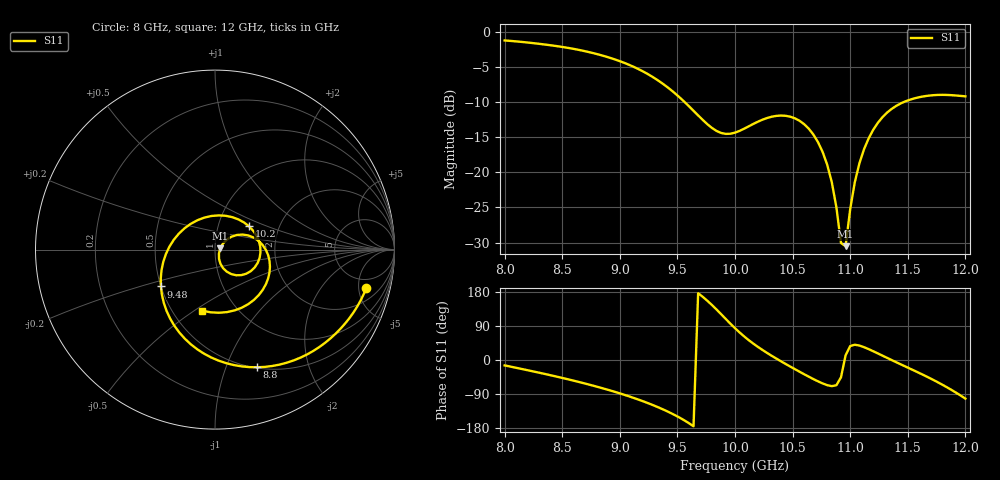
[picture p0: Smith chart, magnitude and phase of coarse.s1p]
! yapnr rf: antenna-x10, binary design on the optimization grid
! spec sha256 6d76e102596c44698a476305de89e6432791258e8245bcfd53b0e58c02666d0d
! renormalized to 50 ohm, e^(+jwt) convention
# GHz S RI R 50
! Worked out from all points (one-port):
!   101 points, 8 GHz to 12 GHz, reference 50 ohm
!   lowest |S11| = -30.5 dB at 10.96 GHz (marker M1), VSWR 1.06, Z = 53 + j0.675 ohm
!   |S11| at or under -10 dB: 9.564 GHz to 11.46 GHz (1.9 GHz wide, 18.1 % of centre)
!   S11 on the Smith chart (normalised r, x): 8 GHz: 3.46, -6.08; 8.8 GHz: 0.51, -1.29; 9.48 GHz: 0.50, -0.24; 10.2 GHz: 1.41, +0.39; 12 GHz: 0.70, -0.54
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8  0.843 -0.2138
8.24  0.7249 -0.412
8.52  0.513 -0.5841
8.8  0.2341 -0.6557
9  0.0211 -0.619
9.28  -0.2264 -0.4241
9.48  -0.3014 -0.2055
9.52  -0.3021 -0.159
9.8  -0.1697 0.1187
10  0.0203 0.1907
10.2  0.1897 0.1296
10.36  0.252 0.0157
10.52  0.2213 -0.0993
10.64  0.1474 -0.1421
10.76  0.0663 -0.1234
10.84  0.0306 -0.0796
10.88  0.0224 -0.0518
10.92  0.0219 -0.0225
10.96  0.0291 0.00636
11  0.0437 0.0328
11.04  0.0649 0.055
11.08  0.0913 0.0716
11.2  0.1849 0.079
11.32  0.265 0.0263
11.52  0.3034 -0.1285
11.64  0.2658 -0.2246
11.8  0.1492 -0.3237
12  -0.0715 -0.3404
